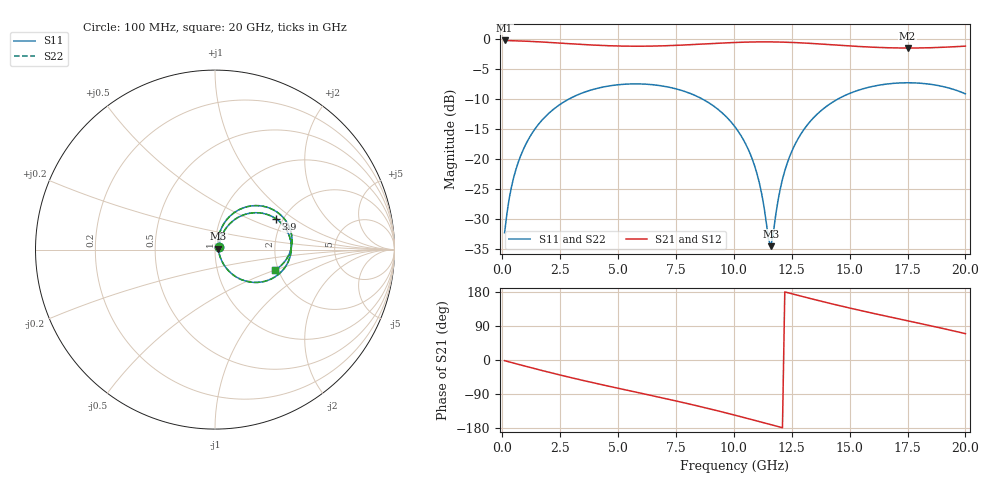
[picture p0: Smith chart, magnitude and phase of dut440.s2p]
! Touchstone file exported from HFSS 2026.1.0
!  File:  C:/ffzhzh/LocalFiles/Ansys_Project_Files/temp_train_TSV_RDL_440_1783098414_53076.aedt
!  Generated:  01:23:14 AM Jul  4, 2026
!  Design:  TSV_RDL
!  Project:  temp_train_TSV_RDL_440_1783098414_53076
! Variables:
!  h_bsmrdl = 2.79um
!  h_ox = 20um
!  h_rdl = 5um
!  h_sub = 86.64um
!  h_tmrdl = 3.89um
!  h_tsv = 86.64um
!  h_via = 3um
!  l_bsmrdl = 298.49um
!  l_sub = 4787.32um
!  l_tmrdl = 837.33um
!  m_sub = 200um
!  pitch = 45.64um
!  r_tsv = 12.69um
!  s_tmrdl = 10um
!  w_bsmrdl = 25.52um
!  w_sub = 500um
!  w_tmrdl = 21.99um
!  x_tsv_center1 = 848.325um
!  x_tsv_center2 = 1172.335um
!  x_tsv_center3 = 2031.655um
!  x_tsv_center4 = 2355.665um
!  x_tsv_center5 = 3214.985um
!  x_tsv_center6 = 3538.995um
# GHz S MA R 50.000000
! Terminal data exported
! Port[1] = TM_RDL1_1_T1
! Port[2] = TM_RDL5_1_T1
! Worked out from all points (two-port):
!   200 points, 100 MHz to 20 GHz, reference 50 ohm
!   highest |S21| = -0.17 dB at 100 MHz (marker M1); lowest = -1.4 dB at 17.5 GHz (marker M2)
!   |S21| within 3 dB of the highest: start of sweep to end of sweep
!   lowest |S11| = -34.5 dB at 11.6 GHz (marker M3), VSWR 1.04, Z = 51.8 + j0.472 ohm
!   |S11| at or under -10 dB: start of sweep to 2.859 GHz; 8.661 GHz to 14.48 GHz (5.816 GHz wide, 50.3 % of centre)
!   |S22| runs from -34.6 to -7.2 dB; largest |S21 - S12| = 2e-14
!   S11 on the Smith chart (normalised r, x): 100 MHz: 1.04, +0.03; 3.9 GHz: 1.84, +0.74; 20 GHz: 1.91, -0.50
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0.1  0.02423 35.5  0.9806 -1.7  0.9806 -1.7  0.02423 35.5
! Gamma 0 0 0 0
! Port Impedance 50 0 50 0
0.3  0.04702 57.9  0.9778 -5.1  0.9778 -5.1  0.04702 57.9
0.5  0.0712 63.0  0.975 -8.4  0.975 -8.4  0.0712 63.0
1.1  0.143 62.1  0.9653 -18.0  0.9653 -18.0  0.143 62.1
2.1  0.2505 50.5  0.9425 -33.7  0.9425 -33.7  0.2505 50.5
3.5  0.3598 32.0  0.9066 -54.1  0.9066 -54.1  0.3598 32.0
3.9  0.3812 26.7  0.8979 -59.7  0.8979 -59.7  0.3812 26.7
5.4  0.4238 7.4  0.8786 -79.9  0.8786 -79.9  0.4239 7.4
6.8  0.4117 -10.3  0.8827 -98.5  0.8827 -98.5  0.4117 -10.3
8.7  0.3133 -35.3  0.9161 -125.1  0.9161 -125.1  0.3133 -35.3
10.1  0.1806 -53.5  0.9441 -146.5  0.9441 -146.5  0.1806 -53.5
11  0.07549 -59.2  0.9537 -160.9  0.9537 -160.9  0.07553 -59.2
11.5  0.02131 -20.5  0.9541 -169.0  0.9541 -169.0  0.02126 -20.8
11.6  0.01874 14.1  0.9538 -170.6  0.9538 -170.6  0.01865 13.9
12  0.05593 71.4  0.9509 -177.1  0.9509 -177.1  0.05584 71.4
12.3  0.09192 74.4  0.9472 178.1  0.9472 178.1  0.09185 74.5
12.8  0.1511 71.3  0.9385 170.1  0.9385 170.1  0.151 71.3
13.4  0.2173 64.3  0.9248 160.7  0.9248 160.7  0.2172 64.4
14.8  0.3403 46.1  0.8875 140.0  0.8875 140.0  0.3403 46.1
16.7  0.4262 21.9  0.8517 114.0  0.8517 114.0  0.4262 21.9
17.5  0.4346 12.1  0.8476 103.5  0.8476 103.5  0.4345 12.1
20  0.3512 -19.2  0.8792 69.6  0.8792 69.6  0.3512 -19.2
